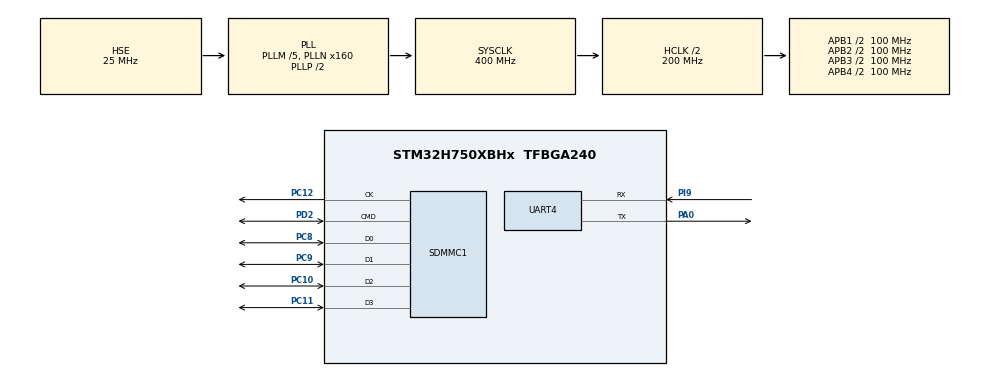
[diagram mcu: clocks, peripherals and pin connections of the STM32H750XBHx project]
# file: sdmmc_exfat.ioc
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FATFS.USE_DMA_CODE_SD=1
FATFS._FS_EXFAT=1
FATFS._MAX_SS=512
FATFS._USE_LFN=1
Mcu.Family=STM32H7
Mcu.Name=STM32H750XBHx
Mcu.Package=TFBGA240
Mdma.MDMA_Channel0.Request0=SDMMC1_END_DATA
Mdma.MDMA_Channel0.RequestsNb=1
Mdma.MDMA_Channel0.SDMMC1_END_DATA.0.BlockCount=0
Mdma.MDMA_Channel0.SDMMC1_END_DATA.0.BlockDataLength=0
Mdma.MDMA_Channel0.SDMMC1_END_DATA.0.BufferTransferLength=1
Mdma.MDMA_Channel0.SDMMC1_END_DATA.0.CircularMode=MDMA_LINEAR_LIST
Mdma.MDMA_Channel0.SDMMC1_END_DATA.0.DataAlignment=MDMA_DATAALIGN_PACKENABLE
Mdma.MDMA_Channel0.SDMMC1_END_DATA.0.DestBlockAddressOffset=0
Mdma.MDMA_Channel0.SDMMC1_END_DATA.0.DestBurst=MDMA_DEST_BURST_SINGLE
Mdma.MDMA_Channel0.SDMMC1_END_DATA.0.DestDataSize=MDMA_DEST_DATASIZE_BYTE
Mdma.MDMA_Channel0.SDMMC1_END_DATA.0.DestinationInc=MDMA_DEST_INC_BYTE
Mdma.MDMA_Channel0.SDMMC1_END_DATA.0.DstAddress=0
Mdma.MDMA_Channel0.SDMMC1_END_DATA.0.Endianness=MDMA_LITTLE_ENDIANNESS_PRESERVE
Mdma.MDMA_Channel0.SDMMC1_END_DATA.0.Instance=MDMA_Channel0
Mdma.MDMA_Channel0.SDMMC1_END_DATA.0.MaskAddress=0
Mdma.MDMA_Channel0.SDMMC1_END_DATA.0.MaskData=0
Mdma.MDMA_Channel0.SDMMC1_END_DATA.0.Priority=MDMA_PRIORITY_VERY_HIGH
Mdma.MDMA_Channel0.SDMMC1_END_DATA.0.Rank=First
Mdma.MDMA_Channel0.SDMMC1_END_DATA.0.SourceBlockAddressOffset=0
Mdma.MDMA_Channel0.SDMMC1_END_DATA.0.SourceBurst=MDMA_SOURCE_BURST_SINGLE
Mdma.MDMA_Channel0.SDMMC1_END_DATA.0.SourceDataSize=MDMA_SRC_DATASIZE_BYTE
Mdma.MDMA_Channel0.SDMMC1_END_DATA.0.SourceInc=MDMA_SRC_INC_BYTE
Mdma.MDMA_Channel0.SDMMC1_END_DATA.0.SrcAddress=0
Mdma.MDMA_Channel0.SDMMC1_END_DATA.0.TransferTriggerMode=MDMA_BUFFER_TRANSFER
Mdma.RequestSet0=MDMA_Channel0
Mdma.RequestSetsNb=1
NVIC.MDMA_IRQn=true\:0\:0\:false\:true\:true\:3\:false\:true\:true
NVIC.PriorityGroup=NVIC_PRIORITYGROUP_4
NVIC.SDMMC1_IRQn=true\:0\:0\:false\:true\:true\:2\:true\:true\:true
NVIC.UART4_IRQn=true\:0\:0\:false\:true\:true\:1\:true\:true\:true
PA0.Mode=Asynchronous
PA0.Signal=UART4_TX
PA13\ (JTMS/SWDIO).Mode=Serial_Wire
PA13\ (JTMS/SWDIO).Signal=DEBUG_JTMS-SWDIO
PA14\ (JTCK/SWCLK).Mode=Serial_Wire
PA14\ (JTCK/SWCLK).Signal=DEBUG_JTCK-SWCLK
PC10.Mode=SD_4_bits_Wide_bus
PC10.Signal=SDMMC1_D2
PC11.Mode=SD_4_bits_Wide_bus
PC11.Signal=SDMMC1_D3
PC12.Mode=SD_4_bits_Wide_bus
PC12.Signal=SDMMC1_CK
PC8.Mode=SD_4_bits_Wide_bus
PC8.Signal=SDMMC1_D0
PC9.Mode=SD_4_bits_Wide_bus
PC9.Signal=SDMMC1_D1
PD2.Mode=SD_4_bits_Wide_bus
PD2.Signal=SDMMC1_CMD
PH0-OSC_IN\ (PH0).Mode=HSE-External-Oscillator
PH0-OSC_IN\ (PH0).Signal=RCC_OSC_IN
PH1-OSC_OUT\ (PH1).Mode=HSE-External-Oscillator
PH1-OSC_OUT\ (PH1).Signal=RCC_OSC_OUT
PI9.Mode=Asynchronous
PI9.Signal=UART4_RX
ProjectManager.HeapSize=0x200
ProjectManager.StackSize=0x400
ProjectManager.TargetToolchain=STM32CubeIDE
RCC.ADCFreq_Value=400000000
RCC.APB1Freq_Value=100000000
RCC.APB2Freq_Value=100000000
RCC.APB3Freq_Value=100000000
RCC.APB4Freq_Value=100000000
RCC.CortexFreq_Value=400000000
RCC.D1PPRE=RCC_APB3_DIV2
RCC.D2PPRE1=RCC_APB1_DIV2
RCC.D2PPRE2=RCC_APB2_DIV2
RCC.D3PPRE=RCC_APB4_DIV2
RCC.DIVM1=5
RCC.DIVM2=5
RCC.DIVN1=160
RCC.DIVN2=160
RCC.DIVR2=8
RCC.HCLKFreq_Value=200000000
RCC.HPRE=RCC_HCLK_DIV2
RCC.PLLSourceVirtual=RCC_PLLSOURCE_HSE
RCC.SDMMC1CLockSelection=RCC_SDMMCCLKSOURCE_PLL2
RCC.SYSCLKFreq_VALUE=400000000
RCC.SYSCLKSource=RCC_SYSCLKSOURCE_PLLCLK
RCC.USBFreq_Value=400000000
SDMMC1.ClockDiv=1
TIM2.Period=4294967295
TIM2.Prescaler=200-1
VP_FATFS_VS_SDIO.Mode=SDIO
VP_TIM2_VS_ClockSourceINT.Mode=Internal
board=custom

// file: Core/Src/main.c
/* USER CODE BEGIN Header */
/**
  ******************************************************************************
  * @file           : main.c
  * @brief          : Main program body
  ******************************************************************************
  * @attention
  *
  * Copyright (c) 2023 STMicroelectronics.
  * All rights reserved.
  *
  * This software is licensed under terms that can be found in the LICENSE file
  * in the root directory of this software component.
  * If no LICENSE file comes with this software, it is provided AS-IS.
  *
  ******************************************************************************
  */
/* USER CODE END Header */
#include "main.h"
#include "fatfs.h"
#include "mdma.h"
#include "sdmmc.h"
#include "tim.h"
#include "usart.h"
#include "gpio.h"

/* USER CODE BEGIN Includes */
#include <string.h>
/* USER CODE END Includes */

/* USER CODE BEGIN PV */
extern volatile uint8_t uart4_rx_data;
extern volatile uint8_t uart4_rx_buff[100];
extern volatile uint8_t uart4_rx_cplt_flag;
extern volatile uint8_t uart4_tx_cplt_flag;
volatile uint8_t uart4_tx_buf[100];
//extern volatile uint8_t ClockFlag;
extern volatile uint32_t systick10us_tim2;

/* USER CODE END PV */

void SystemClock_Config(void);
static void MX_NVIC_Init(void);
/* USER CODE BEGIN PFP */
#ifdef __GNUC__
//With GCC, small printf (option LD Linker->Libraries->Small printf set to 'Yes') calls __io_putchar()
#define PUTCHAR_PROTOTYPE int __io_putchar(int ch)
#else
#define PUTCHAR_PROTOTYPE int fputc(int ch, FILE *f)
#endif /* __GNUC__ */
/* USER CODE END PFP */

int main(void)
{

  /* MCU Configuration--------------------------------------------------------*/

  /* Reset of all peripherals, Initializes the Flash interface and the Systick. */
  HAL_Init();

  /* Configure the system clock */
  SystemClock_Config();

  /* Initialize all configured peripherals */
  MX_GPIO_Init();
  MX_MDMA_Init();
  MX_SDMMC1_SD_Init();
  MX_TIM2_Init();
  MX_FATFS_Init();
  MX_UART4_Init();

  /* Initialize interrupts */
  MX_NVIC_Init();
  /* USER CODE BEGIN 2 */

  HAL_UART_Receive_IT(&huart4, &uart4_rx_data, 1);
  HAL_TIM_Base_Start_IT(&htim2);
  printf("start main()\r\n");

  if ((retSD = f_mount (&SDFatFS, SDPath, 0)) == FR_OK)
    {
      printf ("1. f_mount OK %d \r\n", retSD);
    }
  else
  {
    printf ("1. f_mount OK failed %d\r\n", retSD);
  }
  char fileName[12];
  int fileNameIndex = 0;
  sprintf (fileName, "d%04d.txt", fileNameIndex);
  retSD = f_open (&SDFile, fileName, FA_OPEN_APPEND | FA_WRITE);
  if (retSD == FR_OK)
  {
    printf ("save start\r\n");
  }
  else
  {
    //HAL_UART_Transmit (&huart4, fileName, 12, 0xFFFF);
    printf ("  Failed %d \r\n", retSD);
  }

//  #ifdef _DEBUG_
//      //HAL_UART_Transmit (&huart4, fileName, 20, HAL_MAX_DELAY);
//      printf("data%04d,%d\r\n", fileIndex, retSD);
//  #endif

      HAL_Delay (4000);

  /* USER CODE END 2 */

  /* Infinite loop */
  /* USER CODE BEGIN WHILE */
  uint32_t pretime;
  uint32_t curtime;
  uint32_t bw;
  uint32_t bufSize = 512;
  uint8_t writeData[bufSize];
  memset(writeData,'1',bufSize);
  uint8_t sdflag= 1;

  while (1)
  {

    if(uart4_rx_cplt_flag){

      //printf("%s\r\n", uart_rx_buff);
      sprintf(uart4_tx_buf, "%s\r\n",uart4_rx_buff);
      HAL_UART_Transmit_IT(&huart4, uart4_tx_buf, strlen(uart4_tx_buf));

      uart4_rx_cplt_flag = 0;
      f_close (&SDFile);
      sdflag = 0;
    }
    if(sdflag){
      //pretime = HAL_GetTick();
      __HAL_TIM_SET_COUNTER(&htim2,0);
      f_write (&SDFile, (uint8_t*) writeData, bufSize, &bw);
      //curtime = HAL_GetTick ();
      curtime = __HAL_TIM_GET_COUNTER(&htim2);
      printf ("time : %d us\r\n", curtime);
      HAL_Delay (200);
    }

//    if(uart4_tx_cplt_flag){
//      printf("time : %d\r\n",curtime - pretime);
//      uart4_tx_cplt_flag = 0;
//    }

    /* USER CODE END WHILE */

  }
}

void SystemClock_Config(void)
{
  RCC_OscInitTypeDef RCC_OscInitStruct = {0};
  RCC_ClkInitTypeDef RCC_ClkInitStruct = {0};

  /** Supply configuration update enable
  */
  HAL_PWREx_ConfigSupply(PWR_LDO_SUPPLY);

  /** Configure the main internal regulator output voltage
  */
  __HAL_PWR_VOLTAGESCALING_CONFIG(PWR_REGULATOR_VOLTAGE_SCALE1);

  while(!__HAL_PWR_GET_FLAG(PWR_FLAG_VOSRDY)) {}

  /** Initializes the RCC Oscillators according to the specified parameters
  * in the RCC_OscInitTypeDef structure.
  */
  RCC_OscInitStruct.OscillatorType = RCC_OSCILLATORTYPE_HSE;
  RCC_OscInitStruct.HSEState = RCC_HSE_ON;
  RCC_OscInitStruct.PLL.PLLState = RCC_PLL_ON;
  RCC_OscInitStruct.PLL.PLLSource = RCC_PLLSOURCE_HSE;
  RCC_OscInitStruct.PLL.PLLM = 5;
  RCC_OscInitStruct.PLL.PLLN = 160;
  RCC_OscInitStruct.PLL.PLLP = 2;
  RCC_OscInitStruct.PLL.PLLQ = 2;
  RCC_OscInitStruct.PLL.PLLR = 2;
  RCC_OscInitStruct.PLL.PLLRGE = RCC_PLL1VCIRANGE_2;
  RCC_OscInitStruct.PLL.PLLVCOSEL = RCC_PLL1VCOWIDE;
  RCC_OscInitStruct.PLL.PLLFRACN = 0;
  if (HAL_RCC_OscConfig(&RCC_OscInitStruct) != HAL_OK)
  {
    Error_Handler();
  }

  /** Initializes the CPU, AHB and APB buses clocks
  */
  RCC_ClkInitStruct.ClockType = RCC_CLOCKTYPE_HCLK|RCC_CLOCKTYPE_SYSCLK
                              |RCC_CLOCKTYPE_PCLK1|RCC_CLOCKTYPE_PCLK2
                              |RCC_CLOCKTYPE_D3PCLK1|RCC_CLOCKTYPE_D1PCLK1;
  RCC_ClkInitStruct.SYSCLKSource = RCC_SYSCLKSOURCE_PLLCLK;
  RCC_ClkInitStruct.SYSCLKDivider = RCC_SYSCLK_DIV1;
  RCC_ClkInitStruct.AHBCLKDivider = RCC_HCLK_DIV2;
  RCC_ClkInitStruct.APB3CLKDivider = RCC_APB3_DIV2;
  RCC_ClkInitStruct.APB1CLKDivider = RCC_APB1_DIV2;
  RCC_ClkInitStruct.APB2CLKDivider = RCC_APB2_DIV2;
  RCC_ClkInitStruct.APB4CLKDivider = RCC_APB4_DIV2;

  if (HAL_RCC_ClockConfig(&RCC_ClkInitStruct, FLASH_LATENCY_2) != HAL_OK)
  {
    Error_Handler();
  }
}

/**
  * @brief NVIC Configuration.
  * @retval None
  */
static void MX_NVIC_Init(void)
{
  /* UART4_IRQn interrupt configuration */
  HAL_NVIC_SetPriority(UART4_IRQn, 0, 0);
  HAL_NVIC_EnableIRQ(UART4_IRQn);
  /* SDMMC1_IRQn interrupt configuration */
  HAL_NVIC_SetPriority(SDMMC1_IRQn, 0, 0);
  HAL_NVIC_EnableIRQ(SDMMC1_IRQn);
  /* MDMA_IRQn interrupt configuration */
  HAL_NVIC_SetPriority(MDMA_IRQn, 0, 0);
  HAL_NVIC_EnableIRQ(MDMA_IRQn);
}

/* USER CODE BEGIN 4 */
PUTCHAR_PROTOTYPE
{
/* Place your implementation of fputc here */
/* e.g. write a character to the USART3 and Loop until the end of transmission */
  HAL_UART_Transmit(&huart4, (uint8_t*) &ch, 1, 0xFFFF);
  return ch;
}
/* USER CODE END 4 */

void Error_Handler(void)
{
  __disable_irq();
  while (1)
  {
  }
}
